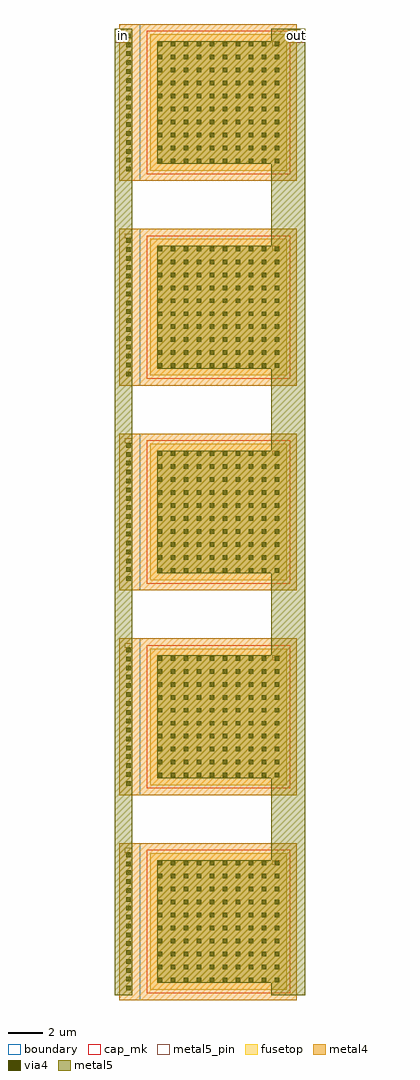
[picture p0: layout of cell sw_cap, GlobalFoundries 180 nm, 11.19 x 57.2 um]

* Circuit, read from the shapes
.subckt sw_cap in out
XC1 out in cap_mim_2f0fF c_width=8u c_length=8u m=5
.ends

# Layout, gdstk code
import gdstk
lib = gdstk.Library(unit=1e-6, precision=1e-09)
def R(c, l, rs):  # rectangles x0, y0, x1, y1
    for r in rs: c.add(gdstk.rectangle(r[:2], r[2:], *l))
def A(c, l, x, y, w, h, nx, ny, dx, dy):  # array of equal rectangles
    R(c, l, [(x+i*dx, y+j*dy, x+i*dx+w, y+j*dy+h) for i in range(nx) for j in range(ny)])
boundary = (0, 0)
via4 = (41, 0)
metal4 = (46, 0)
fusetop = (75, 0)
metal5 = (81, 0)
metal5_pin = (81, 10)
cap_mk = (117, 5)

cap_mim_2p0ff_8jnr63 = lib.new_cell('cap_mim_2p0fF_8JNR63')
R(cap_mim_2p0ff_8jnr63, boundary, [(-17.799,-3.342,-8.599,5.858)])
A(cap_mim_2p0ff_8jnr63, via4, -18.599, -2.772, 0.26, 0.26, 1, 16, 0, 0.52)
A(cap_mim_2p0ff_8jnr63, via4, -16.749, -2.292, 0.26, 0.26, 10, 10, 0.76, 0.76)
R(cap_mim_2p0ff_8jnr63, metal4, [(-18.999,-3.342,-8.599,5.858)])
R(cap_mim_2p0ff_8jnr63, fusetop, [(-17.199,-2.742,-9.199,5.258)])
R(cap_mim_2p0ff_8jnr63, metal5, [(-18.689,-3.057,-18.249,5.573), (-16.799,-2.342,-9.599,4.858)])
R(cap_mim_2p0ff_8jnr63, cap_mk, [(-17.399,-2.942,-8.999,5.458)])

sw_cap_unit = lib.new_cell('sw_cap_unit')
R(sw_cap_unit, metal5_pin, [(-5.939,6.507,-5.499,6.792), (-14.589,7.222,-14.149,7.507)])
sw_cap_unit.add(gdstk.Reference(cap_mim_2p0ff_8jnr63, (4.1,4.45), x_reflection=True))
sw_cap_unit.add(gdstk.Label('in', (-14.364,7.377), layer=81, texttype=10))
sw_cap_unit.add(gdstk.Label('out', (-5.714,6.662), layer=81, texttype=10))

sw_cap = lib.new_cell('sw_cap')
R(sw_cap, metal5, [(-1.39,-47.865,-0.35,8.765), (7.8,-47.865,9.8,8.765)])
R(sw_cap, metal5_pin, [(-1.39,7.948,-0.35,8.752), (8.76,7.948,9.8,8.752)])
sw_cap.add(gdstk.Reference(sw_cap_unit, (13.799,1.258)))
sw_cap.add(gdstk.Reference(sw_cap_unit, (13.799,-10.742)))
sw_cap.add(gdstk.Reference(sw_cap_unit, (13.799,-22.742)))
sw_cap.add(gdstk.Reference(sw_cap_unit, (13.799,-34.742)))
sw_cap.add(gdstk.Reference(sw_cap_unit, (13.799,-46.742)))
sw_cap.add(gdstk.Label('in', (-0.87,8.35), layer=81, texttype=10))
sw_cap.add(gdstk.Label('out', (9.28,8.35), layer=81, texttype=10))

lib.write_gds('sw_cap.gds')
